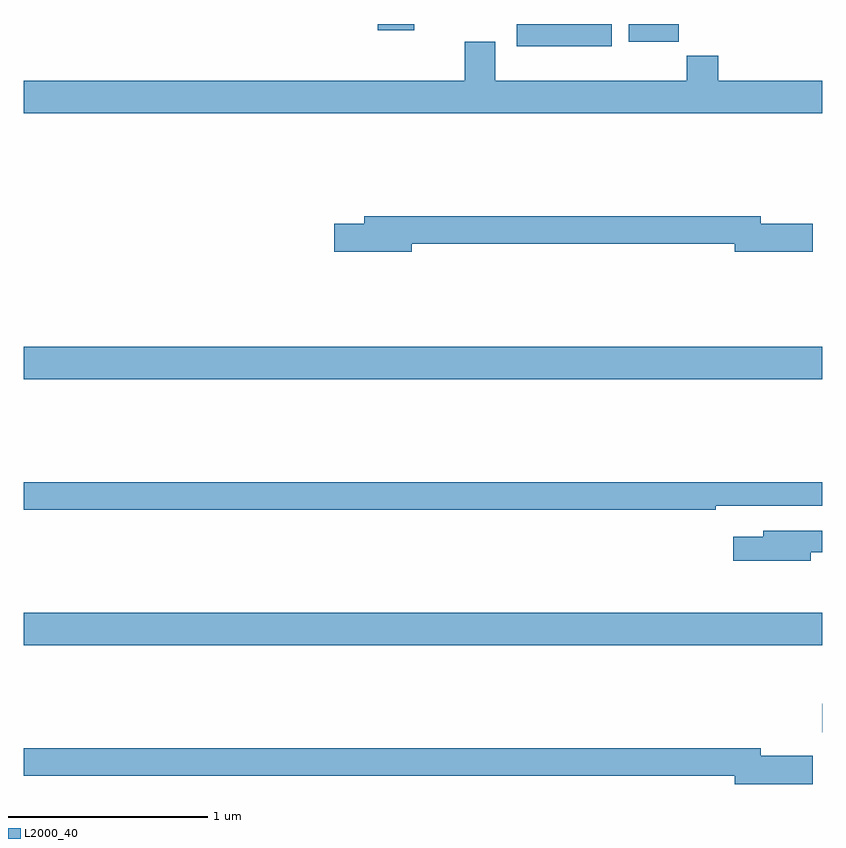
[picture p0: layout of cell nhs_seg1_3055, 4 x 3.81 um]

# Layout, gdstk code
import gdstk
lib = gdstk.Library(unit=1e-6, precision=1e-09)
def R(c, l, rs):  # rectangles x0, y0, x1, y1
    for r in rs: c.add(gdstk.rectangle(r[:2], r[2:], *l))
def P(c, l, *ps):  # polygons
    for p in ps: c.add(gdstk.Polygon(p, *l))
L2000_40 = (2000, 40)

nhs_seg1_3055 = lib.new_cell('nhs_seg1_3055')
R(nhs_seg1_3055, L2000_40, [(280.998,528.653,281,528.795), (277,529.088,281,529.252), (277,530.42,281,530.584), (279.47,532.088,279.946,532.199), (280.031,532.11,280.28,532.199), (278.774,532.167,278.957,532.199)])
P(nhs_seg1_3055, L2000_40, [(281,531.916),(280.478,531.916),(280.478,532.04),(280.321,532.04),(280.321,531.916),(279.361,531.916),(279.361,532.111),(279.209,532.111),(279.209,531.916),(277,531.916),(277,531.752),(281,531.752)],
  [(278.944,531.1),(280.562,531.1),(280.562,531.058),(280.951,531.058),(280.951,531.2),(280.69,531.2),(280.69,531.236),(278.705,531.236),(278.705,531.2),(278.556,531.2),(278.556,531.058),(278.944,531.058)],
  [(280.466,529.788),(281,529.788),(281,529.904),(277,529.904),(277,529.768),(280.466,529.768)],
  [(280.942,529.554),(281,529.554),(281,529.662),(280.703,529.662),(280.703,529.633),(280.554,529.633),(280.554,529.511),(280.942,529.511)],
  [(280.951,528.536),(280.69,528.536),(280.69,528.572),(277,528.572),(277,528.436),(280.562,528.436),(280.562,528.394),(280.951,528.394)])

lib.write_gds('nhs_seg1_3055.gds')
